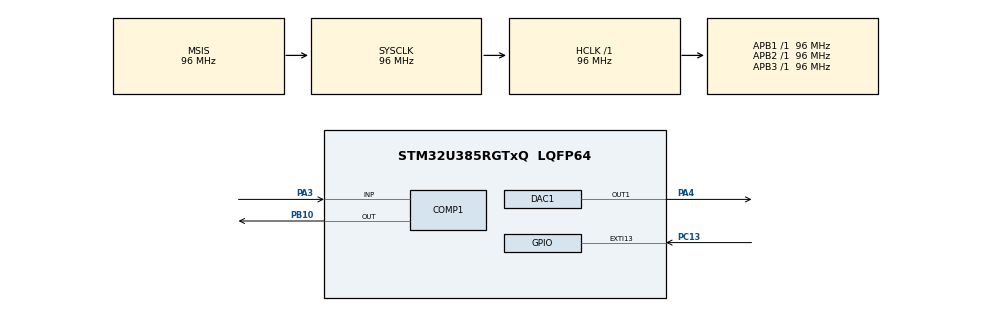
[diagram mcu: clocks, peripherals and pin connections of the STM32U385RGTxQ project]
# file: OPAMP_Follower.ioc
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CORTEX_M33_NS.userName=CORTEX_M33
DAC1.DAC_Channel-DAC_OUT1_ExtAndInt=DAC_CHANNEL_1
Mcu.Family=STM32U3
Mcu.Name=STM32U385RGTxQ
Mcu.Package=LQFP64
NVIC.EXTI13_IRQn=true\:0\:0\:false\:false\:true\:true\:true\:true
NVIC.PriorityGroup=NVIC_PRIORITYGROUP_4
PA3.Signal=SharedAnalog_PA3
PA4.Signal=COMP_DAC11_group
PB10.Mode=ExternalOutput
PB10.Signal=COMP1_OUT
PC13.GPIO_PuPd=GPIO_PULLDOWN
PC13.Signal=GPXTI13
ProjectManager.HeapSize=0x200
ProjectManager.StackSize=0x400
ProjectManager.TargetToolchain=EWARM V9.20
RCC.ADCFreq_Value=96000000
RCC.AHBFreq_Value=96000000
RCC.APB1Freq_Value=96000000
RCC.APB1TimFreq_Value=96000000
RCC.APB2Freq_Value=96000000
RCC.APB2TimFreq_Value=96000000
RCC.APB3Freq_Value=96000000
RCC.CortexFreq_Value=12000000
RCC.HCLKFreq_Value=96000000
RCC.HSE_VALUE=16000000
RCC.HSI48_VALUE=48000000
RCC.HSI_VALUE=16000000
RCC.LSE_VALUE=32768
RCC.LSIDIV_VALUE=32000
RCC.MSISDIV=RCC_MSI_DIV1
RCC.SYSCLKFreq_VALUE=96000000
RCC.USBFreq_Value=96000000
SH.COMP_DAC11_group.0=DAC1_OUT1,DAC_OUT1_ExtAndInt
SH.SharedAnalog_PA3.0=COMP1_INP,INP
SH.SharedAnalog_PA3.1=OPAMP1_VOUT,Follower-DAC_OUT1-INP
VP_COMP1_VS_VREFINT.Mode=VREFINT
VP_ICACHE_VS_ICACHE.Mode=DirectMappedCache
VP_PWR_VS_DBSignals.Mode=DisableDeadBatterySignals
VP_PWR_VS_LPOM.Mode=PowerOptimisation
VP_PWR_VS_SECSignals.Mode=Security/Privilege
board=custom

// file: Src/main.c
/* USER CODE BEGIN Header */
/**
  ******************************************************************************
  * @file           : main.c
  * @brief          : Main program body
  ******************************************************************************
  * @attention
  *
  * Copyright (c) 2024 STMicroelectronics.
  * All rights reserved.
  *
  * This software is licensed under terms that can be found in the LICENSE file
  * in the root directory of this software component.
  * If no LICENSE file comes with this software, it is provided AS-IS.
  *
  ******************************************************************************
  */
/* USER CODE END Header */
#include "main.h"

COMP_HandleTypeDef hcomp1;

DAC_HandleTypeDef hdac1;

OPAMP_HandleTypeDef hopamp1;

void SystemClock_Config(void);
static void MX_GPIO_Init(void);
static void MX_DAC1_Init(void);
static void MX_COMP1_Init(void);
static void MX_OPAMP1_Init(void);
static void MX_ICACHE_Init(void);
/* USER CODE BEGIN PFP */
void OPAMP_Config_Power(void);
__IO uint32_t UserButtonStatus = 0;
/* USER CODE END PFP */

int main(void)
{

  /* USER CODE BEGIN 1 */
  /* STM32U3xx HAL library initialization:
       - Configure the Flash prefetch
       - Configure the Systick to generate an interrupt each 1 msec
       - Set NVIC Group Priority to 3
       - Low Level Initialization
     */
  /* USER CODE END 1 */

  /* MCU Configuration--------------------------------------------------------*/

  /* Reset of all peripherals, Initializes the Flash interface and the Systick. */
  HAL_Init();

  /* USER CODE BEGIN Init */
  uint32_t examplestate = 0;
  /* USER CODE END Init */

  /* Configure the system clock */
  SystemClock_Config();

  /* Initialize all configured peripherals */
  MX_GPIO_Init();
  MX_DAC1_Init();
  MX_COMP1_Init();
  MX_OPAMP1_Init();
  MX_ICACHE_Init();
  /* USER CODE BEGIN 2 */
/* Initialize LEDs on board */
  BSP_PB_Init(BUTTON_USER, BUTTON_MODE_GPIO);
  BSP_LED_Init(LD2);
  /* OPAMP start */
  if (HAL_OPAMP_Start(&hopamp1) != HAL_OK)
  {
    Error_Handler();
  }
  /* COMP start */
  if (HAL_COMP_Start(&hcomp1) != HAL_OK)
  {
    Error_Handler();
  }
  /* USER CODE END 2 */

  /* Infinite loop */
  /* USER CODE BEGIN WHILE */
  /* Infinite loop */
  /* USER CODE BEGIN WHILE */
  while (1)
  {
    /* Test if an action occurred on the User button */

    if (UserButtonStatus == 1)
    {
      UserButtonStatus = 0;
      /* Change the mode */
      if (examplestate == 0)
      {
        /* Turn LD2 on */
        BSP_LED_On(LD2);
        /* normal mode */
        MX_OPAMP1_Init();
        examplestate= 1;
      }
      else
      {
        /* Turn LD2 off */
        BSP_LED_Off(LD2);
        /* Low power mode */
        OPAMP_Config_Power();
        examplestate= 0;
      }
    }
    /* USER CODE END WHILE */

  }
}

void SystemClock_Config(void)
{
  RCC_OscInitTypeDef RCC_OscInitStruct = {0};
  RCC_ClkInitTypeDef RCC_ClkInitStruct = {0};

  /** Enable Epod Booster
  */
  if (HAL_RCCEx_EpodBoosterClkConfig(RCC_EPODBOOSTER_SOURCE_MSIS, RCC_EPODBOOSTER_DIV1) != HAL_OK)
  {
    Error_Handler();
  }

  if (HAL_PWREx_EnableEpodBooster() != HAL_OK)
  {
    Error_Handler();
  }

  /** Configure the main internal regulator output voltage
  */
  if (HAL_PWREx_ControlVoltageScaling(PWR_REGULATOR_VOLTAGE_SCALE1) != HAL_OK)
  {
    Error_Handler();
  }

  /** Set Flash latency before increasing MSIS
  */
  __HAL_FLASH_SET_LATENCY(FLASH_LATENCY_2);

  /** Initializes the CPU, AHB and APB buses clocks
  */
  RCC_OscInitStruct.OscillatorType = RCC_OSCILLATORTYPE_LSI|RCC_OSCILLATORTYPE_MSIS;
  RCC_OscInitStruct.LSIState = RCC_LSI_ON;
  RCC_OscInitStruct.LSIDiv = RCC_LSI_DIV1;
  RCC_OscInitStruct.MSISState = RCC_MSI_ON;
  RCC_OscInitStruct.MSISSource = RCC_MSI_RC0;
  RCC_OscInitStruct.MSISDiv = RCC_MSI_DIV1;
  if (HAL_RCC_OscConfig(&RCC_OscInitStruct) != HAL_OK)
  {
    Error_Handler();
  }

  /** Initializes the CPU, AHB and APB buses clocks
  */
  RCC_ClkInitStruct.ClockType = RCC_CLOCKTYPE_HCLK|RCC_CLOCKTYPE_SYSCLK
                              |RCC_CLOCKTYPE_PCLK1|RCC_CLOCKTYPE_PCLK2
                              |RCC_CLOCKTYPE_PCLK3;
  RCC_ClkInitStruct.SYSCLKSource = RCC_SYSCLKSOURCE_MSIS;
  RCC_ClkInitStruct.AHBCLKDivider = RCC_SYSCLK_DIV1;
  RCC_ClkInitStruct.APB1CLKDivider = RCC_HCLK_DIV1;
  RCC_ClkInitStruct.APB2CLKDivider = RCC_HCLK_DIV1;
  RCC_ClkInitStruct.APB3CLKDivider = RCC_HCLK_DIV1;

  if (HAL_RCC_ClockConfig(&RCC_ClkInitStruct, FLASH_LATENCY_2) != HAL_OK)
  {
    Error_Handler();
  }
}

static void MX_COMP1_Init(void)
{

  hcomp1.Instance = COMP1;
  hcomp1.Init.InputPlus = COMP_INPUT_PLUS_IO4;
  hcomp1.Init.InputMinus = COMP_INPUT_MINUS_VREFINT;
  hcomp1.Init.OutputPol = COMP_OUTPUTPOL_NONINVERTED;
  hcomp1.Init.WindowOutput = COMP_WINDOWOUTPUT_EACH_COMP;
  hcomp1.Init.Hysteresis = COMP_HYSTERESIS_NONE;
  hcomp1.Init.BlankingSrce = COMP_BLANKINGSRC_NONE;
  hcomp1.Init.Mode = COMP_POWERMODE_HIGHSPEED;
  hcomp1.Init.WindowMode = COMP_WINDOWMODE_DISABLE;
  hcomp1.Init.TriggerMode = COMP_TRIGGERMODE_NONE;
  if (HAL_COMP_Init(&hcomp1) != HAL_OK)
  {
    Error_Handler();
  }

}

static void MX_DAC1_Init(void)
{

  DAC_ChannelConfTypeDef sConfig = {0};
  DAC_AutonomousModeConfTypeDef sAutonomousMode = {0};

  /** DAC Initialization
  */
  hdac1.Instance = DAC1;
  if (HAL_DAC_Init(&hdac1) != HAL_OK)
  {
    Error_Handler();
  }

  /** DAC channel OUT1 config
  */
  sConfig.DAC_HighFrequency = DAC_HIGH_FREQUENCY_INTERFACE_MODE_DISABLE;
  sConfig.DAC_DMADoubleDataMode = DISABLE;
  sConfig.DAC_SignedFormat = DISABLE;
  sConfig.DAC_SampleAndHold = DAC_SAMPLEANDHOLD_DISABLE;
  sConfig.DAC_Trigger = DAC_TRIGGER_NONE;
  sConfig.DAC_OutputBuffer = DAC_OUTPUTBUFFER_ENABLE;
  sConfig.DAC_ConnectOnChipPeripheral = DAC_CHIPCONNECT_BOTH;
  sConfig.DAC_UserTrimming = DAC_TRIMMING_FACTORY;
  if (HAL_DAC_ConfigChannel(&hdac1, &sConfig, DAC_CHANNEL_1) != HAL_OK)
  {
    Error_Handler();
  }

  /** Configure Autonomous Mode
  */
  sAutonomousMode.AutonomousModeState = DAC_AUTONOMOUS_MODE_DISABLE;
  if (HAL_DACEx_SetConfigAutonomousMode(&hdac1, &sAutonomousMode) != HAL_OK)
  {
    Error_Handler();
  }
  /* USER CODE BEGIN DAC1_Init 2 */
  /* Set DAC output voltage */
  HAL_DAC_SetValue(&hdac1, DAC_CHANNEL_1, DAC_ALIGN_8B_R,0x7F);

  /* Enable DAC Channel 1 */
  if(HAL_DAC_Start(&hdac1, DAC_CHANNEL_1) != HAL_OK)
  {
    Error_Handler();
  }
  /* USER CODE END DAC1_Init 2 */

}

static void MX_ICACHE_Init(void)
{

  /** Enable instruction cache in 1-way (direct mapped cache)
  */
  if (HAL_ICACHE_ConfigAssociativityMode(ICACHE_1WAY) != HAL_OK)
  {
    Error_Handler();
  }
  if (HAL_ICACHE_Enable() != HAL_OK)
  {
    Error_Handler();
  }

}

static void MX_OPAMP1_Init(void)
{

  hopamp1.Instance = OPAMP1;
  hopamp1.Init.Mode = OPAMP_FOLLOWER_MODE;
  hopamp1.Init.NonInvertingInput = OPAMP_NONINVERTINGINPUT_DAC_CH;
  hopamp1.Init.PowerMode = OPAMP_POWERMODE_NORMALPOWER_NORMALSPEED;
  hopamp1.Init.UserTrimming = OPAMP_TRIMMING_FACTORY;
  if (HAL_OPAMP_Init(&hopamp1) != HAL_OK)
  {
    Error_Handler();
  }

}

static void MX_GPIO_Init(void)
{
  GPIO_InitTypeDef GPIO_InitStruct = {0};

  /* GPIO Ports Clock Enable */
  __HAL_RCC_GPIOC_CLK_ENABLE();
  __HAL_RCC_GPIOA_CLK_ENABLE();
  __HAL_RCC_GPIOB_CLK_ENABLE();

  /*Configure GPIO pin : PC13 */
  GPIO_InitStruct.Pin = GPIO_PIN_13;
  GPIO_InitStruct.Mode = GPIO_MODE_IT_RISING;
  GPIO_InitStruct.Pull = GPIO_PULLDOWN;
  HAL_GPIO_Init(GPIOC, &GPIO_InitStruct);

  /* EXTI interrupt init*/
  HAL_NVIC_SetPriority(EXTI13_IRQn, 0, 0);
  HAL_NVIC_EnableIRQ(EXTI13_IRQn);

}

/* USER CODE BEGIN 4 */
/**
  * @brief  OPAMP Configuration
  * @param  None
  * @retval None
  */
void OPAMP_Config_Power(void)
{
  /* Set OPAMP instance */
  hopamp1.Instance = OPAMP1;

  /*##-1- Deinit  OPAMP    ##################################################*/
  HAL_OPAMP_DeInit(&hopamp1);

  /*##-2- Configure OPAMP    ################################################*/

  /* Select power mode */
  hopamp1.Init.PowerMode = OPAMP_POWERMODE_LOWPOWER_NORMALSPEED;

  /* Select FOLLOWER Mode */
  hopamp1.Init.Mode = OPAMP_FOLLOWER_MODE;

  /* Select VPx as input for OPAMP */
  hopamp1.Init.NonInvertingInput = OPAMP_NONINVERTINGINPUT_DAC_CH;

  /* Select the factory trimming */
  hopamp1.Init.UserTrimming = OPAMP_TRIMMING_FACTORY;

  /* Init */
  if(HAL_OK != HAL_OPAMP_Init(&hopamp1))
  {
    Error_Handler();
  }

  /*##-3- Start OPAMP    ####################################################*/
  /* Enable OPAMP */
  if(HAL_OK != HAL_OPAMP_Start(&hopamp1))
  {
    Error_Handler();
  }

  /*##-4- Enter in low power mode(STOP1)   #################################*/

  /* Disable debug to avoid some buses to stay awake */
  HAL_DBGMCU_DisableDBGStopMode();

  /* Enter in low power mode(STOP1) and wait USER Button event to wakeup from stop mode */
  HAL_PWR_EnterSTOPMode(PWR_LOWPOWERMODE_STOP1, PWR_SLEEPENTRY_WFI);

  /* Re-configure the system clock and resume Tick increment */
  HAL_ResumeTick();
  SystemClock_Config();
  HAL_DBGMCU_EnableDBGStopMode();
}
 void HAL_GPIO_EXTI_Rising_Callback(uint16_t GPIO_Pin)
{
  /* Prevent unused argument(s) compilation warning */
UserButtonStatus = 1;

  /* NOTE: This function should not be modified, when the callback is needed,
           the HAL_GPIO_EXTI_Rising_Callback could be implemented in the user file
   */
}
/* USER CODE END 4 */

void Error_Handler(void)
{
  /* USER CODE BEGIN Error_Handler_Debug */
  /* Toggle LD2 */
  BSP_LED_Toggle(LD2);
  HAL_Delay(1000);
  __disable_irq();
  while (1)
  {
  }
  /* USER CODE END Error_Handler_Debug */
}
